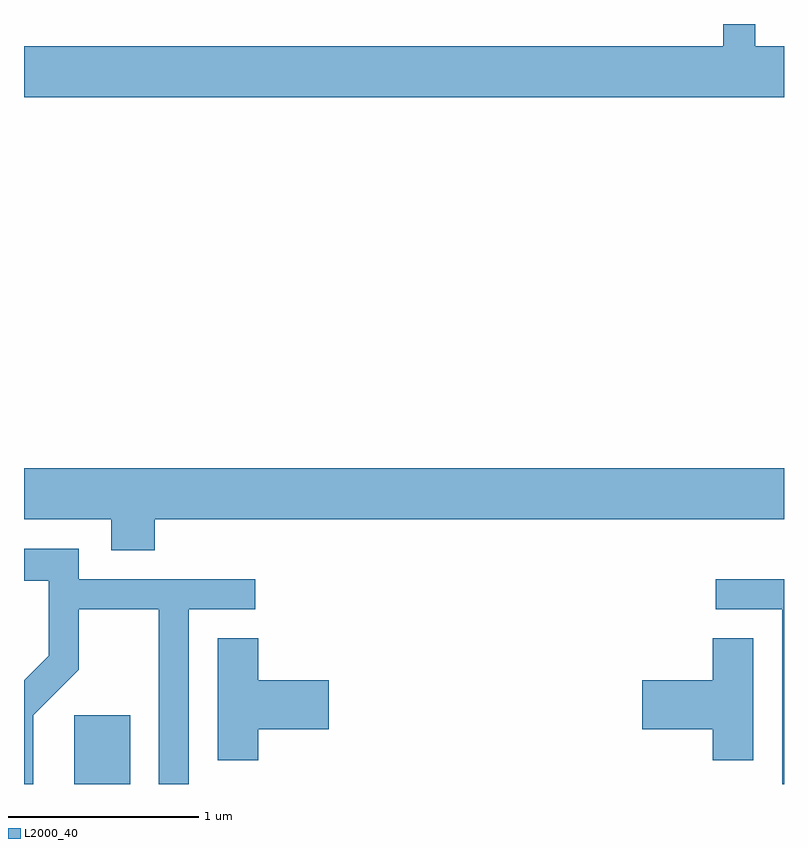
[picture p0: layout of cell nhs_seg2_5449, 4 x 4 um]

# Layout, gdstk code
import gdstk
lib = gdstk.Library(unit=1e-6, precision=1e-09)
def R(c, l, rs):  # rectangles x0, y0, x1, y1
    for r in rs: c.add(gdstk.rectangle(r[:2], r[2:], *l))
def P(c, l, *ps):  # polygons
    for p in ps: c.add(gdstk.Polygon(p, *l))
L2000_40 = (2000, 40)

nhs_seg2_5449 = lib.new_cell('nhs_seg2_5449')
R(nhs_seg2_5449, L2000_40, [(345.876,1055.802,346.169,1056.164)])
P(nhs_seg2_5449, L2000_40, [(349.611,1059.684),(349.459,1059.684),(349.459,1059.802),(349.291,1059.802),(349.291,1059.684),(345.611,1059.684),(345.611,1059.416),(349.611,1059.416)],
  [(346.299,1057.196),(349.611,1057.196),(349.611,1057.464),(345.611,1057.464),(345.611,1057.196),(346.071,1057.196),(346.071,1057.031),(346.299,1057.031)],
  [(345.659,1056.164),(345.899,1056.404),(345.899,1056.721),(346.321,1056.721),(346.321,1055.802),(346.479,1055.802),(346.479,1056.721),(346.828,1056.721),(346.828,1056.879),(345.899,1056.879),(345.899,1057.039),(345.611,1057.039),(345.611,1056.871),(345.741,1056.871),(345.741,1056.477),(345.611,1056.347),(345.611,1055.802),(345.659,1055.802)],
  [(349.611,1056.879),(349.253,1056.879),(349.253,1056.721),(349.601,1056.721),(349.601,1055.802),(349.611,1055.802)],
  [(346.844,1056.091),(347.214,1056.091),(347.214,1056.349),(346.844,1056.349),(346.844,1056.569),(346.631,1056.569),(346.631,1055.926),(346.844,1055.926)],
  [(349.449,1056.569),(349.236,1056.569),(349.236,1056.349),(348.866,1056.349),(348.866,1056.091),(349.236,1056.091),(349.236,1055.926),(349.449,1055.926)])

lib.write_gds('nhs_seg2_5449.gds')
